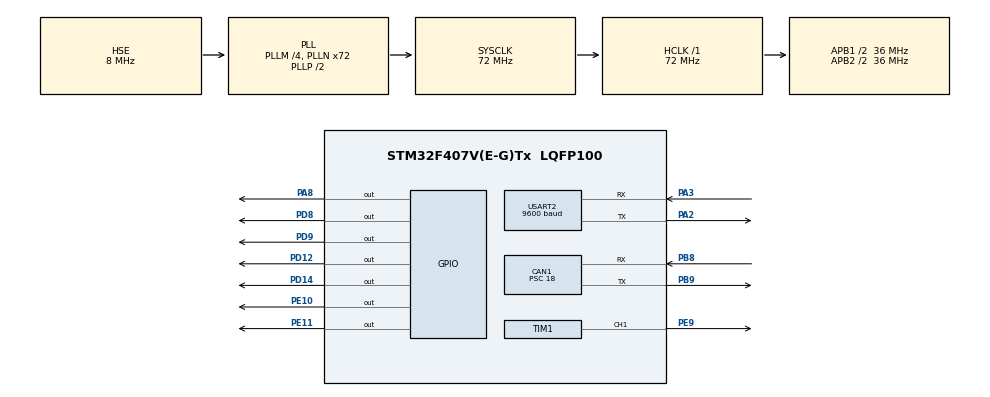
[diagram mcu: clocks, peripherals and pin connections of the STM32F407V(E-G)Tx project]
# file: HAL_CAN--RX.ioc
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CAN1.BS1=CAN_BS1_2TQ
CAN1.CalculateBaudRate=500000
CAN1.CalculateTimeBit=2000
CAN1.CalculateTimeQuantum=500.0
CAN1.Prescaler=18
Mcu.Family=STM32F4
Mcu.Name=STM32F407V(E-G)Tx
Mcu.Package=LQFP100
NVIC.CAN1_RX0_IRQn=true\:0\:0\:false\:false\:true\:true\:true\:true
NVIC.PriorityGroup=NVIC_PRIORITYGROUP_0
PA2.Mode=Asynchronous
PA2.Signal=USART2_TX
PA3.Mode=Asynchronous
PA3.Signal=USART2_RX
PA8.Signal=GPIO_Output
PB8.Mode=CAN_Activate
PB8.Signal=CAN1_RX
PB9.Mode=CAN_Activate
PB9.Signal=CAN1_TX
PD12.Signal=GPIO_Output
PD14.Signal=GPIO_Output
PD8.Signal=GPIO_Output
PD9.Signal=GPIO_Output
PE10.Signal=GPIO_Output
PE11.Signal=GPIO_Output
PE9.Signal=S_TIM1_CH1
PH0-OSC_IN.Mode=HSE-External-Oscillator
PH0-OSC_IN.Signal=RCC_OSC_IN
PH1-OSC_OUT.Mode=HSE-External-Oscillator
PH1-OSC_OUT.Signal=RCC_OSC_OUT
ProjectManager.HeapSize=0x200
ProjectManager.StackSize=0x400
ProjectManager.TargetToolchain=STM32CubeIDE
RCC.48MHZClocksFreq_Value=20571428.57142857
RCC.AHBFreq_Value=72000000
RCC.APB1CLKDivider=RCC_HCLK_DIV2
RCC.APB1Freq_Value=36000000
RCC.APB1TimFreq_Value=72000000
RCC.APB2CLKDivider=RCC_HCLK_DIV2
RCC.APB2Freq_Value=36000000
RCC.APB2TimFreq_Value=72000000
RCC.CortexFreq_Value=72000000
RCC.HCLKFreq_Value=72000000
RCC.HSE_VALUE=8000000
RCC.HSI_VALUE=16000000
RCC.LSE_VALUE=32768
RCC.PLLM=4
RCC.PLLN=72
RCC.PLLQ=7
RCC.PLLSourceVirtual=RCC_PLLSOURCE_HSE
RCC.SYSCLKFreq_VALUE=72000000
RCC.SYSCLKSource=RCC_SYSCLKSOURCE_PLLCLK
RCC.VCOOutputFreq_Value=144000000
SH.S_TIM1_CH1.0=TIM1_CH1,PWM Generation1 CH1
TIM1.AutoReloadPreload=TIM_AUTORELOAD_PRELOAD_ENABLE
TIM1.Channel-PWM\ Generation1\ CH1=TIM_CHANNEL_1
TIM1.Period=100-1
TIM1.Prescaler=16-1
USART2.BaudRate=9600
USART2.VirtualMode=VM_ASYNC
board=STM32F407G-DISC1

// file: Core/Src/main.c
/* USER CODE BEGIN Header */
/**
  ******************************************************************************
  * @file           : main.c
  * @brief          : Main program body
  ******************************************************************************
  * @attention
  *
  * Copyright (c) 2024 STMicroelectronics.
  * All rights reserved.
  *
  * This software is licensed under terms that can be found in the LICENSE file
  * in the root directory of this software component.
  * If no LICENSE file comes with this software, it is provided AS-IS.
  *
  ******************************************************************************
  */
/* USER CODE END Header */
#include "main.h"

/* USER CODE BEGIN Includes */
#include<stdio.h>
#include<string.h>
/* USER CODE END Includes */

/* USER CODE BEGIN PD */
#define FORWARD 1
#define BACKWARD 0
#define MIN_DIST 5
#define MAX_DIST 100
#define MIN_SPEED 70
#define MAX_SPEED 100

/* USER CODE END PD */

CAN_HandleTypeDef hcan1;

TIM_HandleTypeDef htim1;

UART_HandleTypeDef huart2;

void SystemClock_Config(void);
static void MX_GPIO_Init(void);
static void MX_CAN1_Init(void);
static void MX_TIM1_Init(void);
static void MX_USART2_UART_Init(void);
/* USER CODE BEGIN PFP */
void MotorStart(void);
void MotorStop(void);
//void SetMotorSpeed(uint16_t distance);
/* USER CODE END PFP */

/* USER CODE BEGIN 0 */
CAN_RxHeaderTypeDef RxHeader;
uint8_t RxData[8];
uint8_t is_data_received;
uint16_t distance;
uint16_t speed;
uint16_t gas;
uint8_t fsr_status;
uint16_t fsr_adc;

void HAL_CAN_RxFifo0MsgPendingCallback(CAN_HandleTypeDef *hcan)
{
	if(HAL_CAN_GetRxMessage(hcan, CAN_RX_FIFO0, &RxHeader, RxData) == HAL_OK)
	{
		// process the message
        if (RxHeader.DLC == 6) {
        	is_data_received = 1;
        }
	}
}

void MotorStart(void)
{
		HAL_GPIO_WritePin(GPIOE, GPIO_PIN_10, GPIO_PIN_SET);
		HAL_GPIO_WritePin(GPIOE, GPIO_PIN_11, GPIO_PIN_RESET);
}

void MotorStop(void)
{
	HAL_GPIO_WritePin(GPIOE, GPIO_PIN_10, GPIO_PIN_RESET);
	HAL_GPIO_WritePin(GPIOE, GPIO_PIN_11, GPIO_PIN_RESET);
}

/* USER CODE END 0 */

int main(void)
{

  /* USER CODE BEGIN 1 */
	 char str[127];
	 char *str2 = "      >>>>>>>>>>>>>>>>>>>>>>>>> DATA <<<<<<<<<<<<<<<<<<<<<<<<<\r\n";
  /* USER CODE END 1 */

  /* MCU Configuration--------------------------------------------------------*/

  /* Reset of all peripherals, Initializes the Flash interface and the Systick. */
  HAL_Init();

  /* Configure the system clock */
  SystemClock_Config();

  /* Initialize all configured peripherals */
  MX_GPIO_Init();
  MX_CAN1_Init();
  MX_TIM1_Init();
  MX_USART2_UART_Init();
  /* USER CODE BEGIN 2 */
  HAL_CAN_Start(&hcan1);
  HAL_CAN_ActivateNotification(&hcan1, CAN_IT_RX_FIFO0_MSG_PENDING);
  HAL_TIM_PWM_Start(&htim1, TIM_CHANNEL_1);
  HAL_UART_Transmit(&huart2, (uint8_t *)str2, strlen(str2), HAL_MAX_DELAY);
  /* USER CODE END 2 */

  /* Infinite loop */
  while (1)
  {

    /* USER CODE BEGIN 3 */
	 if(is_data_received == 1)
	 {
		 strcpy(str,"---------------------------------------------------------- \r\n");
		 HAL_UART_Transmit(&huart2, (uint8_t *)str, strlen(str), HAL_MAX_DELAY);
		 HAL_GPIO_WritePin(GPIOD, GPIO_PIN_14, GPIO_PIN_RESET);
          HAL_GPIO_WritePin(GPIOD, GPIO_PIN_12, GPIO_PIN_SET);
    	  HAL_GPIO_WritePin(GPIOA, GPIO_PIN_8, GPIO_PIN_RESET);

          distance = (uint16_t)RxData[0] << 8 | (uint16_t)RxData[1];
          uint8_t gas = RxData[2];   // 0 = No gas, 1 = Gas detected
          fsr_status = RxData[3];          // FSR pressed or not
          fsr_adc    = (uint16_t)(RxData[4] << 8) | RxData[5];

                   sprintf(str, " Distance : %d cm \r \n", distance);
      	  HAL_UART_Transmit(&huart2, (uint8_t *)str, strlen(str), HAL_MAX_DELAY);

      	 sprintf(str, " FSR ADC Value : %d \r\n", fsr_adc);
      	 HAL_UART_Transmit(&huart2, (uint8_t *)str, strlen(str), HAL_MAX_DELAY);

       	if(gas)
       	{
      	       	    sprintf(str, " Gas Status : GAS DETECTED !!! \r\n");
          	       	HAL_UART_Transmit(&huart2, (uint8_t *)str, strlen(str), HAL_MAX_DELAY);

       	}
      	       	else
      	       	{
      	       	    sprintf(str, " Gas Status : Safe \r\n");
          	       	HAL_UART_Transmit(&huart2, (uint8_t *)str, strlen(str), HAL_MAX_DELAY);
      	       	}

      	      if(fsr_status)
      	      {
      	          sprintf(str, " FSR Status : FORCE APPLIED \r\n");
          	      HAL_UART_Transmit(&huart2, (uint8_t *)str, strlen(str), HAL_MAX_DELAY);

      	      }
      	      else
      	      {
      	          sprintf(str, " FSR Status : NO FORCE \r\n");
          	      HAL_UART_Transmit(&huart2, (uint8_t *)str, strlen(str), HAL_MAX_DELAY);

      	      }

          if(distance < 25)
          {
        	  HAL_GPIO_WritePin(GPIOA, GPIO_PIN_8, GPIO_PIN_SET);
          }
          if(distance <20)
          {
        	  MotorStop();
          }
          else
          {
        	  MotorStart();
          }
          HAL_GPIO_WritePin(GPIOD, GPIO_PIN_12, GPIO_PIN_RESET);
          HAL_Delay(200);
	 }
	 is_data_received = 0;
  }
  /* USER CODE END 3 */
}

void SystemClock_Config(void)
{
  RCC_OscInitTypeDef RCC_OscInitStruct = {0};
  RCC_ClkInitTypeDef RCC_ClkInitStruct = {0};

  /** Configure the main internal regulator output voltage
  */
  __HAL_RCC_PWR_CLK_ENABLE();
  __HAL_PWR_VOLTAGESCALING_CONFIG(PWR_REGULATOR_VOLTAGE_SCALE1);

  /** Initializes the RCC Oscillators according to the specified parameters
  * in the RCC_OscInitTypeDef structure.
  */
  RCC_OscInitStruct.OscillatorType = RCC_OSCILLATORTYPE_HSE;
  RCC_OscInitStruct.HSEState = RCC_HSE_ON;
  RCC_OscInitStruct.PLL.PLLState = RCC_PLL_ON;
  RCC_OscInitStruct.PLL.PLLSource = RCC_PLLSOURCE_HSE;
  RCC_OscInitStruct.PLL.PLLM = 4;
  RCC_OscInitStruct.PLL.PLLN = 72;
  RCC_OscInitStruct.PLL.PLLP = RCC_PLLP_DIV2;
  RCC_OscInitStruct.PLL.PLLQ = 7;
  if (HAL_RCC_OscConfig(&RCC_OscInitStruct) != HAL_OK)
  {
    Error_Handler();
  }

  /** Initializes the CPU, AHB and APB buses clocks
  */
  RCC_ClkInitStruct.ClockType = RCC_CLOCKTYPE_HCLK|RCC_CLOCKTYPE_SYSCLK
                              |RCC_CLOCKTYPE_PCLK1|RCC_CLOCKTYPE_PCLK2;
  RCC_ClkInitStruct.SYSCLKSource = RCC_SYSCLKSOURCE_PLLCLK;
  RCC_ClkInitStruct.AHBCLKDivider = RCC_SYSCLK_DIV1;
  RCC_ClkInitStruct.APB1CLKDivider = RCC_HCLK_DIV2;
  RCC_ClkInitStruct.APB2CLKDivider = RCC_HCLK_DIV2;

  if (HAL_RCC_ClockConfig(&RCC_ClkInitStruct, FLASH_LATENCY_2) != HAL_OK)
  {
    Error_Handler();
  }
}

static void MX_CAN1_Init(void)
{

  hcan1.Instance = CAN1;
  hcan1.Init.Prescaler = 18;
  hcan1.Init.Mode = CAN_MODE_NORMAL;
  hcan1.Init.SyncJumpWidth = CAN_SJW_1TQ;
  hcan1.Init.TimeSeg1 = CAN_BS1_2TQ;
  hcan1.Init.TimeSeg2 = CAN_BS2_1TQ;
  hcan1.Init.TimeTriggeredMode = DISABLE;
  hcan1.Init.AutoBusOff = DISABLE;
  hcan1.Init.AutoWakeUp = DISABLE;
  hcan1.Init.AutoRetransmission = DISABLE;
  hcan1.Init.ReceiveFifoLocked = DISABLE;
  hcan1.Init.TransmitFifoPriority = DISABLE;
  if (HAL_CAN_Init(&hcan1) != HAL_OK)
  {
    Error_Handler();
  }
  /* USER CODE BEGIN CAN1_Init 2 */
  CAN_FilterTypeDef FilterConfig;
  //FilterConfig.SlaveStartFilterBank = 9; // CAN1-0 to 8, CAN2-9 to 27
  FilterConfig.FilterActivation = CAN_FILTER_ENABLE;
  FilterConfig.FilterBank = 0; // Use any Filter from 0 to 8
  FilterConfig.FilterScale = CAN_FILTERSCALE_32BIT; // Use a 32-bit filter
  FilterConfig.FilterMode = CAN_FILTERMODE_IDMASK;
  FilterConfig.FilterMaskIdHigh = 0xFF00;
  FilterConfig.FilterMaskIdLow = 0x0000;
  FilterConfig.FilterIdHigh = 0x1500;
  FilterConfig.FilterIdLow = 0x0000;
  FilterConfig.FilterFIFOAssignment = CAN_RX_FIFO0;

  if(HAL_CAN_ConfigFilter(&hcan1, &FilterConfig) != HAL_OK)
	  Error_Handler();
  /* USER CODE END CAN1_Init 2 */

}

static void MX_TIM1_Init(void)
{

  TIM_MasterConfigTypeDef sMasterConfig = {0};
  TIM_OC_InitTypeDef sConfigOC = {0};
  TIM_BreakDeadTimeConfigTypeDef sBreakDeadTimeConfig = {0};

  htim1.Instance = TIM1;
  htim1.Init.Prescaler = 16-1;
  htim1.Init.CounterMode = TIM_COUNTERMODE_UP;
  htim1.Init.Period = 100-1;
  htim1.Init.ClockDivision = TIM_CLOCKDIVISION_DIV1;
  htim1.Init.RepetitionCounter = 0;
  htim1.Init.AutoReloadPreload = TIM_AUTORELOAD_PRELOAD_ENABLE;
  if (HAL_TIM_PWM_Init(&htim1) != HAL_OK)
  {
    Error_Handler();
  }
  sMasterConfig.MasterOutputTrigger = TIM_TRGO_RESET;
  sMasterConfig.MasterSlaveMode = TIM_MASTERSLAVEMODE_DISABLE;
  if (HAL_TIMEx_MasterConfigSynchronization(&htim1, &sMasterConfig) != HAL_OK)
  {
    Error_Handler();
  }
  sConfigOC.OCMode = TIM_OCMODE_PWM1;
  sConfigOC.Pulse = 0;
  sConfigOC.OCPolarity = TIM_OCPOLARITY_HIGH;
  sConfigOC.OCNPolarity = TIM_OCNPOLARITY_HIGH;
  sConfigOC.OCFastMode = TIM_OCFAST_DISABLE;
  sConfigOC.OCIdleState = TIM_OCIDLESTATE_RESET;
  sConfigOC.OCNIdleState = TIM_OCNIDLESTATE_RESET;
  if (HAL_TIM_PWM_ConfigChannel(&htim1, &sConfigOC, TIM_CHANNEL_1) != HAL_OK)
  {
    Error_Handler();
  }
  sBreakDeadTimeConfig.OffStateRunMode = TIM_OSSR_DISABLE;
  sBreakDeadTimeConfig.OffStateIDLEMode = TIM_OSSI_DISABLE;
  sBreakDeadTimeConfig.LockLevel = TIM_LOCKLEVEL_OFF;
  sBreakDeadTimeConfig.DeadTime = 0;
  sBreakDeadTimeConfig.BreakState = TIM_BREAK_DISABLE;
  sBreakDeadTimeConfig.BreakPolarity = TIM_BREAKPOLARITY_HIGH;
  sBreakDeadTimeConfig.AutomaticOutput = TIM_AUTOMATICOUTPUT_DISABLE;
  if (HAL_TIMEx_ConfigBreakDeadTime(&htim1, &sBreakDeadTimeConfig) != HAL_OK)
  {
    Error_Handler();
  }
  HAL_TIM_MspPostInit(&htim1);

}

static void MX_USART2_UART_Init(void)
{

  huart2.Instance = USART2;
  huart2.Init.BaudRate = 9600;
  huart2.Init.WordLength = UART_WORDLENGTH_8B;
  huart2.Init.StopBits = UART_STOPBITS_1;
  huart2.Init.Parity = UART_PARITY_NONE;
  huart2.Init.Mode = UART_MODE_TX_RX;
  huart2.Init.HwFlowCtl = UART_HWCONTROL_NONE;
  huart2.Init.OverSampling = UART_OVERSAMPLING_16;
  if (HAL_UART_Init(&huart2) != HAL_OK)
  {
    Error_Handler();
  }

}

static void MX_GPIO_Init(void)
{
  GPIO_InitTypeDef GPIO_InitStruct = {0};

  /* GPIO Ports Clock Enable */
  __HAL_RCC_GPIOH_CLK_ENABLE();
  __HAL_RCC_GPIOA_CLK_ENABLE();
  __HAL_RCC_GPIOE_CLK_ENABLE();
  __HAL_RCC_GPIOD_CLK_ENABLE();
  __HAL_RCC_GPIOB_CLK_ENABLE();

  /*Configure GPIO pin Output Level */
  HAL_GPIO_WritePin(GPIOE, GPIO_PIN_10|GPIO_PIN_11, GPIO_PIN_RESET);

  /*Configure GPIO pin Output Level */
  HAL_GPIO_WritePin(GPIOD, GPIO_PIN_8|GPIO_PIN_9|GPIO_PIN_12|GPIO_PIN_14, GPIO_PIN_RESET);

  /*Configure GPIO pin Output Level */
  HAL_GPIO_WritePin(GPIOA, GPIO_PIN_8, GPIO_PIN_RESET);

  /*Configure GPIO pins : PE10 PE11 */
  GPIO_InitStruct.Pin = GPIO_PIN_10|GPIO_PIN_11;
  GPIO_InitStruct.Mode = GPIO_MODE_OUTPUT_PP;
  GPIO_InitStruct.Pull = GPIO_NOPULL;
  GPIO_InitStruct.Speed = GPIO_SPEED_FREQ_LOW;
  HAL_GPIO_Init(GPIOE, &GPIO_InitStruct);

  /*Configure GPIO pins : PD8 PD9 PD12 PD14 */
  GPIO_InitStruct.Pin = GPIO_PIN_8|GPIO_PIN_9|GPIO_PIN_12|GPIO_PIN_14;
  GPIO_InitStruct.Mode = GPIO_MODE_OUTPUT_PP;
  GPIO_InitStruct.Pull = GPIO_NOPULL;
  GPIO_InitStruct.Speed = GPIO_SPEED_FREQ_LOW;
  HAL_GPIO_Init(GPIOD, &GPIO_InitStruct);

  /*Configure GPIO pin : PA8 */
  GPIO_InitStruct.Pin = GPIO_PIN_8;
  GPIO_InitStruct.Mode = GPIO_MODE_OUTPUT_PP;
  GPIO_InitStruct.Pull = GPIO_NOPULL;
  GPIO_InitStruct.Speed = GPIO_SPEED_FREQ_LOW;
  HAL_GPIO_Init(GPIOA, &GPIO_InitStruct);

}

void Error_Handler(void)
{
  __disable_irq();
  while (1)
  {
  }
}
